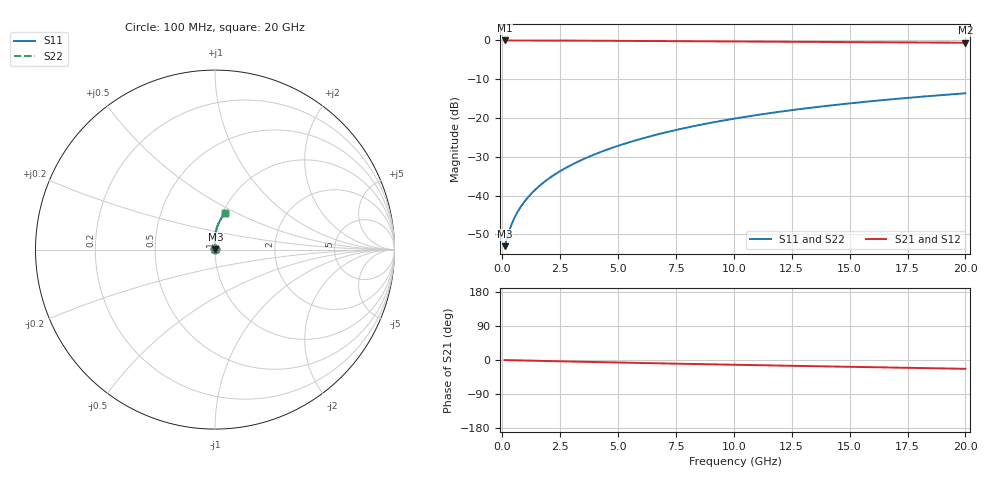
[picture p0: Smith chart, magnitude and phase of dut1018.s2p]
! Touchstone file exported from HFSS 2024.1.0
!  File:  C:/UserFiles/LocalFiles/RDL_TSV_Batchsim/temp_RDL_bottom_1018_1780050599.aedt
!  Generated:  06:32:40 PM May 29, 2026
!  Design:  RDL_bottom
!  Project:  temp_RDL_bottom_1018_1780050599
!  Setup:  Setup1
!  Solution:  Sweep
! Variables:
!  dtsv = 10.80580581um
!  hbump = 3um
!  htsv = 90.08um
!  ldown = 323.53um
!  lrdl = 100um
!  p = 40
!  p1 = 47.06um
!  rhole = 1um
!  t = 450um
!  tdown = 2.56um
!  trdl = 3.915915916um
!  wdown = 26.71um
!  wrdl = 20um
# GHz S MA R 50.000000
! Terminal data exported
! Port[1] = RDL1_T1
! Port[2] = RDL1_T2
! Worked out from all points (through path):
!   200 points, 100 MHz to 20 GHz, reference 50 ohm
!   highest |S21| = -0.02 dB at 100 MHz (marker M1); lowest = -0.6 dB at 20 GHz (marker M2)
!   group delay of S21, straight-line fit = 3.19 ps
!   lowest |S11| = -53.0 dB at 100 MHz (marker M3), VSWR 1.00, Z = 50.2 + j0.0959 ohm
!   |S11| at or under -10 dB: start of sweep to end of sweep
!   |S22| runs from -53.0 to -13.6 dB; largest |S21 - S12| = 3e-15
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0.1  0.002236 25.3  0.998 -0.1  0.998 -0.1  0.002236 25.3
! Gamma 0 0 0 0
! Port Impedance 50 0 50 0
0.3  0.003522 51.5  0.9977 -0.4  0.9977 -0.4  0.003522 51.5
0.4  0.004259 57.6  0.9976 -0.6  0.9976 -0.6  0.004259 57.6
0.5  0.004997 61.9  0.9975 -0.7  0.9975 -0.7  0.004997 61.9
0.6  0.005732 65.1  0.9973 -0.8  0.9973 -0.8  0.005732 65.1
0.8  0.007204 70.0  0.9971 -1.1  0.9971 -1.1  0.007204 70.0
1  0.008695 73.6  0.9969 -1.4  0.9969 -1.4  0.008694 73.6
1.2  0.01021 76.3  0.9966 -1.7  0.9966 -1.7  0.01021 76.3
1.7  0.01412 81.0  0.9959 -2.3  0.9959 -2.3  0.01412 81.0
2.2  0.0182 84.0  0.995 -3.0  0.995 -3.0  0.0182 84.0
2.8  0.02329 86.5  0.9936 -3.8  0.9936 -3.8  0.02329 86.5
3.5  0.02952 88.3  0.9918 -4.7  0.9918 -4.7  0.02952 88.3
4.2  0.03604 89.5  0.9897 -5.6  0.9897 -5.6  0.03604 89.5
5  0.04384 90.2  0.987 -6.7  0.987 -6.7  0.04384 90.2
5.9  0.05301 90.4  0.9838 -7.8  0.9838 -7.8  0.05301 90.5
6.8  0.06252 90.3  0.9805 -8.9  0.9805 -8.9  0.06252 90.3
8.4  0.08004 89.3  0.9744 -10.7  0.9744 -10.7  0.08005 89.3
10.1  0.09915 87.6  0.968 -12.7  0.968 -12.7  0.09916 87.6
11.7  0.1173 85.7  0.962 -14.4  0.962 -14.4  0.1173 85.7
13.4  0.1365 83.6  0.9559 -16.3  0.9559 -16.3  0.1365 83.6
16.7  0.1731 79.3  0.9442 -19.8  0.9442 -19.8  0.1731 79.3
20  0.2082 75.1  0.9328 -23.2  0.9328 -23.2  0.2082 75.1
